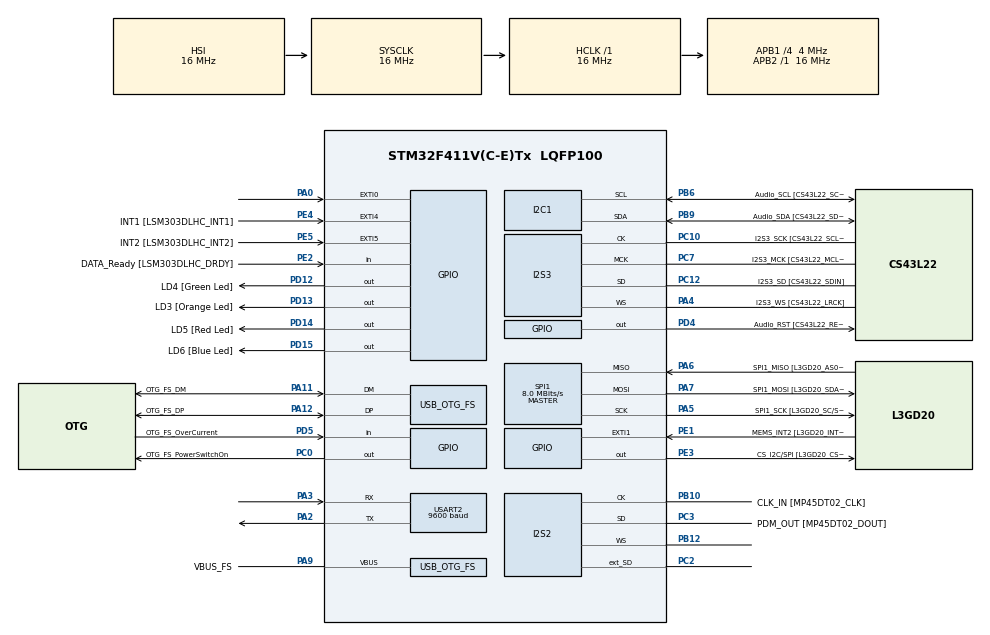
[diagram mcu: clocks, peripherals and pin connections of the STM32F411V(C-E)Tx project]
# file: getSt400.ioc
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I2S2.AudioFreq=I2S_AUDIOFREQ_96K
I2S2.ErrorAudioFreq=-1.35 %
I2S2.FullDuplexMode=I2S_FULLDUPLEXMODE_ENABLE
I2S2.Instance=SPI$Index
I2S2.RealAudioFreq=94.696 KHz
I2S2.VirtualMode=I2S_MODE_MASTER
I2S3.AudioFreq=I2S_AUDIOFREQ_96K
I2S3.ErrorAudioFreq=1.72 %
I2S3.FullDuplexMode=I2S_FULLDUPLEXMODE_DISABLE
I2S3.Instance=SPI$Index
I2S3.RealAudioFreq=97.656 KHz
I2S3.VirtualMode=I2S_MODE_MASTER
Mcu.Family=STM32F4
Mcu.Name=STM32F411V(C-E)Tx
Mcu.Package=LQFP100
NVIC.OTG_FS_IRQn=true\:0\:0\:false\:false\:true\:true\:true
NVIC.PriorityGroup=NVIC_PRIORITYGROUP_0
PA0-WKUP.GPIO_ModeDefaultEXTI=GPIO_MODE_EVT_RISING
PA0-WKUP.Signal=GPXTI0
PA10.GPIO_Label=OTG_FS_ID
PA10.Signal=USB_OTG_FS_ID
PA11.GPIO_Label=OTG_FS_DM
PA11.Mode=Host_Only
PA11.Signal=USB_OTG_FS_DM
PA12.GPIO_Label=OTG_FS_DP
PA12.Mode=Host_Only
PA12.Signal=USB_OTG_FS_DP
PA13.GPIO_Label=SWDIO
PA13.Mode=Serial_Wire
PA13.Signal=SYS_JTMS-SWDIO
PA14.GPIO_Label=SWCLK
PA14.Mode=Serial_Wire
PA14.Signal=SYS_JTCK-SWCLK
PA2.Mode=Asynchronous
PA2.Signal=USART2_TX
PA3.Mode=Asynchronous
PA3.Signal=USART2_RX
PA4.GPIO_Label=I2S3_WS [CS43L22_LRCK]
PA4.GPIO_Mode=GPIO_MODE_AF_PP
PA4.GPIO_PuPd=GPIO_NOPULL
PA4.GPIO_Speed=GPIO_SPEED_FREQ_LOW
PA4.Mode=Half_Duplex_Master
PA4.Signal=I2S3_WS
PA5.GPIO_Label=SPI1_SCK [L3GD20_SC/SPC]
PA5.Mode=Full_Duplex_Master
PA5.Signal=SPI1_SCK
PA6.GPIO_Label=SPI1_MISO [L3GD20_AS0/SDO]
PA6.Mode=Full_Duplex_Master
PA6.Signal=SPI1_MISO
PA7.GPIO_Label=SPI1_MOSI [L3GD20_SDA/SDI/SDO]
PA7.Mode=Full_Duplex_Master
PA7.Signal=SPI1_MOSI
PA9.GPIO_Label=VBUS_FS
PA9.Mode=Activate_VBUS
PA9.Signal=USB_OTG_FS_VBUS
PB10.GPIO_Label=CLK_IN [MP45DT02_CLK]
PB10.Mode=Full_Duplex_Master
PB10.Signal=I2S2_CK
PB12.Mode=Full_Duplex_Master
PB12.Signal=I2S2_WS
PB3.GPIO_Label=SWO
PB3.Signal=SYS_JTDO-SWO
PB6.GPIO_Label=Audio_SCL [CS43L22_SCL]
PB6.GPIO_Mode=GPIO_MODE_AF_OD
PB6.GPIO_Pu=GPIO_PULLUP
PB6.GPIO_PuPd=GPIO_NOPULL
PB6.GPIO_Speed=GPIO_SPEED_FREQ_LOW
PB6.Mode=I2C
PB6.Signal=I2C1_SCL
PB9.GPIO_Label=Audio_SDA [CS43L22_SDA]
PB9.GPIO_Mode=GPIO_MODE_AF_OD
PB9.GPIO_Pu=GPIO_PULLUP
PB9.GPIO_PuPd=GPIO_NOPULL
PB9.GPIO_Speed=GPIO_SPEED_FREQ_LOW
PB9.Mode=I2C
PB9.Signal=I2C1_SDA
PC0.GPIO_Label=OTG_FS_PowerSwitchOn
PC0.PinState=GPIO_PIN_SET
PC0.Signal=GPIO_Output
PC10.GPIO_Label=I2S3_SCK [CS43L22_SCLK]
PC10.GPIO_Mode=GPIO_MODE_AF_PP
PC10.GPIO_PuPd=GPIO_NOPULL
PC10.GPIO_Speed=GPIO_SPEED_FREQ_LOW
PC10.Mode=Half_Duplex_Master
PC10.Signal=I2S3_CK
PC12.GPIO_Label=I2S3_SD [CS43L22_SDIN]
PC12.GPIO_Mode=GPIO_MODE_AF_PP
PC12.GPIO_PuPd=GPIO_NOPULL
PC12.GPIO_Speed=GPIO_SPEED_FREQ_LOW
PC12.Mode=Half_Duplex_Master
PC12.Signal=I2S3_SD
PC14-OSC32_IN.GPIO_Label=PC14-OSC32_IN
PC14-OSC32_IN.Signal=RCC_OSC32_IN
PC15-OSC32_OUT.GPIO_Label=PC15-OSC32_OUT
PC15-OSC32_OUT.Signal=RCC_OSC32_OUT
PC2.Mode=Full_Duplex_Master
PC2.Signal=I2S2_ext_SD
PC3.GPIO_Label=PDM_OUT [MP45DT02_DOUT]
PC3.Mode=Full_Duplex_Master
PC3.Signal=I2S2_SD
PC7.GPIO_Label=I2S3_MCK [CS43L22_MCLK]
PC7.GPIO_Mode=GPIO_MODE_AF_PP
PC7.GPIO_PuPd=GPIO_NOPULL
PC7.GPIO_Speed=GPIO_SPEED_FREQ_LOW
PC7.Mode=Master_Clock_Activated
PC7.Signal=I2S3_MCK
PD12.GPIO_Label=LD4 [Green Led]
PD12.GPIO_PuPd=GPIO_NOPULL
PD12.GPIO_Speed=GPIO_SPEED_FREQ_LOW
PD12.Signal=GPIO_Output
PD13.GPIO_Label=LD3 [Orange Led]
PD13.GPIO_PuPd=GPIO_NOPULL
PD13.GPIO_Speed=GPIO_SPEED_FREQ_LOW
PD13.Signal=GPIO_Output
PD14.GPIO_Label=LD5 [Red Led]
PD14.GPIO_PuPd=GPIO_NOPULL
PD14.GPIO_Speed=GPIO_SPEED_FREQ_LOW
PD14.Signal=GPIO_Output
PD15.GPIO_Label=LD6 [Blue Led]
PD15.GPIO_PuPd=GPIO_NOPULL
PD15.GPIO_Speed=GPIO_SPEED_FREQ_LOW
PD15.Signal=GPIO_Output
PD4.GPIO_Label=Audio_RST [CS43L22_RESET]
PD4.Signal=GPIO_Output
PD5.GPIO_Label=OTG_FS_OverCurrent
PD5.Signal=GPIO_Input
PE1.GPIO_Label=MEMS_INT2 [L3GD20_INT2]
PE1.GPIO_ModeDefaultEXTI=GPIO_MODE_EVT_RISING
PE1.Signal=GPXTI1
PE2.GPIO_Label=DATA_Ready [LSM303DLHC_DRDY]
PE2.Signal=GPIO_Input
PE3.GPIO_Label=CS_I2C/SPI [L3GD20_CS_I2C/SPI]
PE3.Signal=GPIO_Output
PE4.GPIO_Label=INT1 [LSM303DLHC_INT1]
PE4.GPIO_ModeDefaultEXTI=GPIO_MODE_EVT_RISING
PE4.Signal=GPXTI4
PE5.GPIO_Label=INT2 [LSM303DLHC_INT2]
PE5.GPIO_ModeDefaultEXTI=GPIO_MODE_EVT_RISING
PE5.Signal=GPXTI5
PH0\ -\ OSC_IN.GPIO_Label=PH0-OSC_IN
PH0\ -\ OSC_IN.Signal=RCC_OSC_IN
PH1\ -\ OSC_OUT.GPIO_Label=PH1-OSC_OUT
PH1\ -\ OSC_OUT.Signal=RCC_OSC_OUT
ProjectManager.HeapSize=0x200
ProjectManager.StackSize=0x400
ProjectManager.TargetToolchain=STM32CubeIDE
RCC.48MHZClocksFreq_Value=48000000
RCC.AHBFreq_Value=16000000
RCC.APB1CLKDivider=RCC_HCLK_DIV4
RCC.APB1Freq_Value=4000000
RCC.APB1TimFreq_Value=8000000
RCC.APB2Freq_Value=16000000
RCC.APB2TimFreq_Value=16000000
RCC.CortexFreq_Value=16000000
RCC.HCLKFreq_Value=16000000
RCC.HSE_VALUE=8000000
RCC.HSI_VALUE=16000000
RCC.LSE_VALUE=32768
RCC.PLLI2SM=8
RCC.PLLI2SN=200
RCC.PLLI2SR=4
RCC.PLLM=8
RCC.PLLP=RCC_PLLP_DIV4
RCC.PLLQ=8
RCC.PLLSource=RCC_PLLSOURCE_HSI
RCC.PLLSourceVirtualString=RCC_PLLSOURCE_HSI
RCC.SYSCLKFreq_VALUE=16000000
RCC.VCOOutputFreq_Value=384000000
SPI1.BaudRatePrescaler=SPI_BAUDRATEPRESCALER_2
SPI1.CalculateBaudRate=8.0 MBits/s
SPI1.Direction=SPI_DIRECTION_2LINES
SPI1.Mode=SPI_MODE_MASTER
SPI1.VirtualType=VM_MASTER
USART2.BaudRate=9600
USART2.VirtualMode=VM_ASYNC
USB_HOST.BSP.number=1
USB_HOST.USBH_HandleTypeDef=hUsbHostFS
USB_HOST.VirtualModeFS=Cdc
USB_HOST0.BSP.STBoard=false
USB_HOST0.BSP.api=Unknown
USB_HOST0.BSP.i2caddr=0
USB_HOST0.BSP.i2creg=0
USB_HOST0.BSP.instance=PC0
USB_HOST0.BSP.ip=GPIO
USB_HOST0.BSP.mode=Output
USB_HOST0.BSP.name=Drive_VBUS_FS
USB_HOST0.BSP.solution=PC0
USB_OTG_FS.VirtualMode=Host_Only
USB_OTG_FS.phy_itface=HCD_PHY_EMBEDDED
VP_USB_HOST_VS_USB_HOST_CDC_FS.Mode=CDC_FS
board=STM32F411E-DISCO

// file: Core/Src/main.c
/* USER CODE BEGIN Header */
/**
  ******************************************************************************
  * @file           : main.c
  * @brief          : Main program body
  ******************************************************************************
  * @attention
  *
  * <h2><center>&copy; Copyright (c) 2021 STMicroelectronics.
  * All rights reserved.</center></h2>
  *
  * This software component is licensed by ST under Ultimate Liberty license
  * SLA0044, the "License"; You may not use this file except in compliance with
  * the License. You may obtain a copy of the License at:
  *                             www.st.com/SLA0044
  *
  ******************************************************************************
  */
/* USER CODE END Header */
#include "main.h"
#include "i2c.h"
#include "i2s.h"
#include "spi.h"
#include "usart.h"
#include "usb_host.h"
#include "gpio.h"

/* USER CODE BEGIN Includes */
#define MPU6050_ADDRESS_AD0_LOW 0x68
#define MPU6050_RA_ACCEL_XOUT_H 0x3B
#define MPU6050_RA_GYRO_CONFIG  0x1B
#define MPU6050_RA_ACCEL_CONFIG 0x1C
#define MPU6050_RA_PWR_MGMT_1   0x6B
/* USER CODE END Includes */

void SystemClock_Config(void);
void PeriphCommonClock_Config(void);
void MX_USB_HOST_Process(void);

/* USER CODE BEGIN PFP */
int I2C_WriteBuffer(uint8_t I2C_ADDRESS, uint8_t *aTxBuffer, uint8_t TXBUFFERSIZE);
int I2C_ReadBuffer(uint8_t I2C_ADDRESS, uint8_t RegAddr, uint8_t *aRxBuffer, uint8_t RXBUFFERSIZE);
int MPU6050_Init(void);
void MPU6050_GetAllData(int16_t *Data);
int print_DataToTerminal(int16_t *Data);

/* USER CODE END PFP */

int main(void)
{

  /* MCU Configuration--------------------------------------------------------*/

  /* Reset of all peripherals, Initializes the Flash interface and the Systick. */
  HAL_Init();

  /* Configure the system clock */
  SystemClock_Config();

/* Configure the peripherals common clocks */
  PeriphCommonClock_Config();

  /* Initialize all configured peripherals */
  MX_GPIO_Init();
  MX_I2C1_Init();
  MX_I2S2_Init();
  MX_I2S3_Init();
  MX_SPI1_Init();
  MX_USB_HOST_Init();
  MX_USART2_UART_Init();
  /* USER CODE BEGIN 2 */

  MPU6050_Init();

  int16_t Data;
  int err;
  char dbg_msg[BUF_SIZE];
  /* USER CODE END 2 */

  /* Infinite loop */
  while (1)
  {
    MX_USB_HOST_Process();

    /* USER CODE BEGIN 3 */

    // blinks green
    HAL_GPIO_TogglePin(LD4_GPIO_Port, LD4_Pin);
    HAL_Delay(500);

    MPU6050_GetAllData(&Data);

    err = print_DataToTerminal(&Data);
    if (err != 0) {
    	sprintf(dbg_msg, "Error has occurred: %d\n", err);
    	HAL_UART_Transmit(&huart2, (uint8_t *) dbg_msg, strlen(dbg_msg), HAL_MAX_DELAY);
    	// Error_Handler();
    	HAL_GPIO_WritePin(LD3_GPIO_Port, LD3_Pin, GPIO_PIN_SET);
    	continue;
    } else {
    	HAL_GPIO_WritePin(LD3_GPIO_Port, LD3_Pin, GPIO_PIN_RESET);
    }

  }
  /* USER CODE END 3 */
}

void SystemClock_Config(void)
{
  RCC_OscInitTypeDef RCC_OscInitStruct = {0};
  RCC_ClkInitTypeDef RCC_ClkInitStruct = {0};

  /** Configure the main internal regulator output voltage
  */
  __HAL_RCC_PWR_CLK_ENABLE();
  __HAL_PWR_VOLTAGESCALING_CONFIG(PWR_REGULATOR_VOLTAGE_SCALE1);
  /** Initializes the RCC Oscillators according to the specified parameters
  * in the RCC_OscInitTypeDef structure.
  */
  RCC_OscInitStruct.OscillatorType = RCC_OSCILLATORTYPE_HSI;
  RCC_OscInitStruct.HSIState = RCC_HSI_ON;
  RCC_OscInitStruct.HSICalibrationValue = RCC_HSICALIBRATION_DEFAULT;
  RCC_OscInitStruct.PLL.PLLState = RCC_PLL_ON;
  RCC_OscInitStruct.PLL.PLLSource = RCC_PLLSOURCE_HSI;
  RCC_OscInitStruct.PLL.PLLM = 8;
  RCC_OscInitStruct.PLL.PLLN = 192;
  RCC_OscInitStruct.PLL.PLLP = RCC_PLLP_DIV4;
  RCC_OscInitStruct.PLL.PLLQ = 8;
  if (HAL_RCC_OscConfig(&RCC_OscInitStruct) != HAL_OK)
  {
    Error_Handler();
  }
  /** Initializes the CPU, AHB and APB buses clocks
  */
  RCC_ClkInitStruct.ClockType = RCC_CLOCKTYPE_HCLK|RCC_CLOCKTYPE_SYSCLK
                              |RCC_CLOCKTYPE_PCLK1|RCC_CLOCKTYPE_PCLK2;
  RCC_ClkInitStruct.SYSCLKSource = RCC_SYSCLKSOURCE_HSI;
  RCC_ClkInitStruct.AHBCLKDivider = RCC_SYSCLK_DIV1;
  RCC_ClkInitStruct.APB1CLKDivider = RCC_HCLK_DIV4;
  RCC_ClkInitStruct.APB2CLKDivider = RCC_HCLK_DIV1;

  if (HAL_RCC_ClockConfig(&RCC_ClkInitStruct, FLASH_LATENCY_0) != HAL_OK)
  {
    Error_Handler();
  }
}

void PeriphCommonClock_Config(void)
{
  RCC_PeriphCLKInitTypeDef PeriphClkInitStruct = {0};

  /** Initializes the peripherals clock
  */
  PeriphClkInitStruct.PeriphClockSelection = RCC_PERIPHCLK_I2S;
  PeriphClkInitStruct.PLLI2S.PLLI2SN = 200;
  PeriphClkInitStruct.PLLI2S.PLLI2SM = 8;
  PeriphClkInitStruct.PLLI2S.PLLI2SR = 4;
  if (HAL_RCCEx_PeriphCLKConfig(&PeriphClkInitStruct) != HAL_OK)
  {
    Error_Handler();
  }
}

/* USER CODE BEGIN 4 */
int I2C_WriteBuffer(uint8_t I2C_ADDRESS, uint8_t *aTxBuffer, uint8_t TXBUFFERSIZE) {
    while(HAL_I2C_Master_Transmit(&hi2c1, (uint16_t)I2C_ADDRESS<<1, (uint8_t*)aTxBuffer, (uint16_t)TXBUFFERSIZE, (uint32_t)1000)!= HAL_OK){
        if (HAL_I2C_GetError(&hi2c1) != HAL_I2C_ERROR_AF){
            // _Error_Handler(__FILE__, aTxBuffer[0]);
        	return 1;
        }

    }

      while (HAL_I2C_GetState(&hi2c1) != HAL_I2C_STATE_READY){}

      return 0;
}

int I2C_ReadBuffer(uint8_t I2C_ADDRESS, uint8_t RegAddr, uint8_t *aRxBuffer, uint8_t RXBUFFERSIZE){

    I2C_WriteBuffer(I2C_ADDRESS, &RegAddr, 1);

    while(HAL_I2C_Master_Receive(&hi2c1, (uint16_t)I2C_ADDRESS<<1, aRxBuffer, (uint16_t)RXBUFFERSIZE, (uint32_t)1000) != HAL_OK){
        if (HAL_I2C_GetError(&hi2c1) != HAL_I2C_ERROR_AF){
            // _Error_Handler(__FILE__, __LINE__);
        	return 1;
        }
    }

    while (HAL_I2C_GetState(&hi2c1) != HAL_I2C_STATE_READY){}

    return 0;
}

int MPU6050_Init(void){

    uint8_t buffer[7];
    int res = 0;

    buffer[0] = MPU6050_RA_PWR_MGMT_1;
    buffer[1] = 0x00;
    res = I2C_WriteBuffer(MPU6050_ADDRESS_AD0_LOW,buffer,2);
    if (res != 0) return res;

    buffer[0] = MPU6050_RA_GYRO_CONFIG;
    buffer[1] = 0x8;
    res = I2C_WriteBuffer(MPU6050_ADDRESS_AD0_LOW,buffer,2);
    if (res != 0) return res;

    buffer[0] = MPU6050_RA_ACCEL_CONFIG;
    buffer[1] = 0x10;
    res = I2C_WriteBuffer(MPU6050_ADDRESS_AD0_LOW,buffer,2);

    return res;
}

void MPU6050_GetAllData(int16_t *Data){

  uint8_t accelbuffer[14];

  I2C_ReadBuffer(MPU6050_ADDRESS_AD0_LOW,MPU6050_RA_ACCEL_XOUT_H, accelbuffer, 14);

  /* Registers 59 to 64 – Accelerometer Measurements */
  for (int i = 0; i< 3; i++)
      Data[i] = ((int16_t) ((uint16_t) accelbuffer[2 * i] << 8) + accelbuffer[2 * i + 1]);

  /* Registers 65 and 66 – Temperature Measurement */

  /* Registers 67 to 72 – Gyroscope Measurements */
  for (int i = 4; i < 7; i++)
      Data[i - 1] = ((int16_t) ((uint16_t) accelbuffer[2 * i] << 8) + accelbuffer[2 * i + 1]);

}

int print_DataToTerminal(int16_t *Data) {
	char msg[BUF_SIZE];
	sprintf(msg, "A: %d, %d, %d; G: %d, %d, %d\n",
			Data[0], Data[1], Data[2],
			Data[3], Data[4], Data[5]);

	// remembet that this works as sizeof char == 1
	int err = HAL_UART_Transmit(&huart2, (uint8_t *) msg, strlen(msg), HAL_MAX_DELAY);
	if (err != HAL_OK) return err;

	return 0;
}

/* USER CODE END 4 */

void Error_Handler(void)
{
  __disable_irq();
  while (1)
  {
  }
}

/************************ (C) COPYRIGHT STMicroelectronics *****END OF FILE****/
